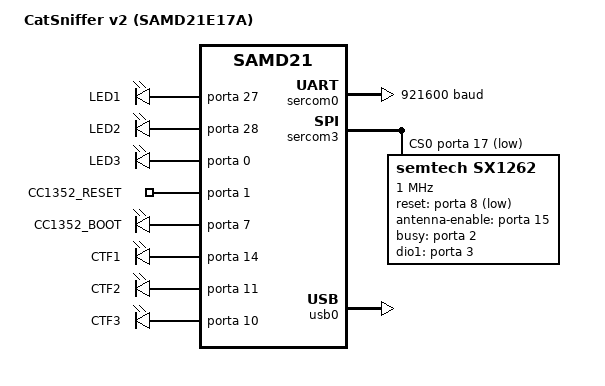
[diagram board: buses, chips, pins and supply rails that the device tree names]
/*
 * Copyright (c) 2026 Electronic Cats
 * SPDX-License-Identifier: Apache-2.0
 *
 * CatSniffer v1.x/v2.x board - ATSAMD21E17A/E17D (32-pin, Port A only)
 * Pin map taken from the Electronic Cats Arduino core, variant "catsniffer".
 *
 *   PA00 = LED3              PA01 = CC1352 RESET (RTS)
 *   PA02 = SX1262 BUSY       PA03 = SX1262 DIO1 (IRQ)
 *   PA04 = CC1352 UART TX    PA05 = CC1352 UART RX
 *   PA07 = CC1352 BOOT (CTS) PA08 = SX1262 RESET (active low)
 *   PA10 = CTF3              PA11 = CTF2
 *   PA14 = CTF1              PA15 = SX1262 ANT_SW
 *   PA17 = SX1262 CS (GPIO)  PA18 = SX1262 MOSI (SERCOM3 PAD2)
 *   PA19 = SX1262 SCK        PA22 = SX1262 MISO (SERCOM3 PAD0)
 *   PA24 = USB D-            PA25 = USB D+
 *   PA27 = LED1              PA28 = LED2
 *   PA30 = SWCLK             PA31 = SWDIO
 *   Unused: PA06 (DIO2), PA09 (DIO3), PA16, PA23
 */

/dts-v1/;
#include <atmel/samd21.dtsi>
#include <atmel/samx2xx17.dtsi>
#include "catsniffer_v2-pinctrl.dtsi"
#include <zephyr/dt-bindings/gpio/gpio.h>

/ {
	model = "CatSniffer v2 (SAMD21E17A)";
	compatible = "electroniccats,catsniffer-v2", "atmel,samd21e17a", "atmel,samd21";

	chosen {
		zephyr,sram = &sram0;
		zephyr,flash = &flash0;
		zephyr,code-partition = &code_partition;
		uart-cc1352 = &sercom0;
	};

	aliases {
		pin-reset = &cc1352_reset;
		pin-boot  = &cc1352_boot;
		led0      = &led_1;
		led1      = &led_2;
		led2      = &led_3;
		ctf1      = &ctf1_pin;
		ctf2      = &ctf2_pin;
		ctf3      = &ctf3_pin;
		lora0     = &sx1262;
	};

	leds {
		compatible = "gpio-leds";

		led_1: led1 {
			gpios = <&porta 27 GPIO_ACTIVE_HIGH>;
			label = "LED1";
		};
		led_2: led2 {
			gpios = <&porta 28 GPIO_ACTIVE_HIGH>;
			label = "LED2";
		};
		led_3: led3 {
			gpios = <&porta 0 GPIO_ACTIVE_HIGH>;
			label = "LED3";
		};
	};

	gpio_pins {
		compatible = "gpio-leds";

		cc1352_reset: cc1352-reset {
			gpios = <&porta 1 GPIO_ACTIVE_HIGH>;
			label = "CC1352_RESET";
		};
		cc1352_boot: cc1352-boot {
			gpios = <&porta 7 GPIO_ACTIVE_HIGH>;
			label = "CC1352_BOOT";
		};
		ctf1_pin: ctf1 {
			gpios = <&porta 14 GPIO_ACTIVE_HIGH>;
			label = "CTF1";
		};
		ctf2_pin: ctf2 {
			gpios = <&porta 11 GPIO_ACTIVE_HIGH>;
			label = "CTF2";
		};
		ctf3_pin: ctf3 {
			gpios = <&porta 10 GPIO_ACTIVE_HIGH>;
			label = "CTF3";
		};
	};
};

&cpu0 {
	clock-frequency = <48000000>;
};

/* samx2xx17.dtsi already sets flash=128KB, sram=16KB; only add partitions */
&flash0 {
	partitions {
		compatible = "fixed-partitions";
		#address-cells = <1>;
		#size-cells = <1>;

		boot_partition: partition@0 {
			label = "uf2-bootloader";
			reg = <0x00000000 DT_SIZE_K(8)>;
			read-only;
		};

		code_partition: partition@2000 {
			label = "code-partition";
			reg = <0x00002000 DT_SIZE_K(120)>;
			read-only;
		};

	};
};

/* CC1352P1 UART - SERCOM0, 921600 baud
 * TX = PA04 (PAD0, function D), RX = PA05 (PAD1, function D)
 * txpo = 0 -> TX on PAD0, rxpo = 1 -> RX on PAD1
 */
&dmac {
	status = "okay";
};

/* DMA triggers (SAMD21 datasheet, DMAC trigger table): SERCOM0 RX = 1, TX = 2 */
&sercom0 {
	status = "okay";
	compatible = "atmel,sam0-uart";
	current-speed = <921600>;
	rxpo = <1>;
	txpo = <0>;
	dmas = <&dmac 0 1>, <&dmac 1 2>;
	dma-names = "rx", "tx";

	pinctrl-0 = <&sercom0_uart_default>;
	pinctrl-names = "default";
};

/* SX1262 SPI - SERCOM3
 * DIPO = 0 -> MISO on PAD0 = PA22 (function C)
 * DOPO = 1 -> MOSI on PAD2 = PA18 (function D), SCK on PAD3 = PA19 (function D)
 * CS = PA17 as GPIO software chip-select (active low)
 */
&sercom3 {
	status = "okay";
	compatible = "atmel,sam0-spi";
	dipo = <0>;
	dopo = <1>;
	#address-cells = <1>;
	#size-cells = <0>;

	cs-gpios = <&porta 17 GPIO_ACTIVE_LOW>;

	pinctrl-0 = <&sercom3_spi_default>;
	pinctrl-names = "default";

	sx1262: sx1262@0 {
		compatible = "semtech,sx1262";
		reg = <0>;
		spi-max-frequency = <1000000>;

		reset-gpios = <&porta 8 GPIO_ACTIVE_LOW>;
		antenna-enable-gpios = <&porta 15 GPIO_ACTIVE_HIGH>;
		busy-gpios  = <&porta 2  GPIO_ACTIVE_HIGH>;
		dio1-gpios  = <&porta 3 GPIO_ACTIVE_HIGH>;
	};
};

/* USB - SAMD21 native USB device controller, 3x CDC-ACM */
zephyr_udc0: &usb0 {
	status = "okay";

	pinctrl-0 = <&usb_dc_default>;
	pinctrl-names = "default";

	cdc_acm_uart0: cdc_acm_uart0 {
		compatible = "zephyr,cdc-acm-uart";
		label = "Cat-Bridge";
		tx-fifo-size = <128>;
		rx-fifo-size = <128>;
	};

	cdc_acm_uart1: cdc_acm_uart1 {
		compatible = "zephyr,cdc-acm-uart";
		label = "Cat-LoRa";
		tx-fifo-size = <64>;
		rx-fifo-size = <64>;
	};

	cdc_acm_uart2: cdc_acm_uart2 {
		compatible = "zephyr,cdc-acm-uart";
		label = "Cat-Shell";
		tx-fifo-size = <64>;
		rx-fifo-size = <64>;
	};
};
